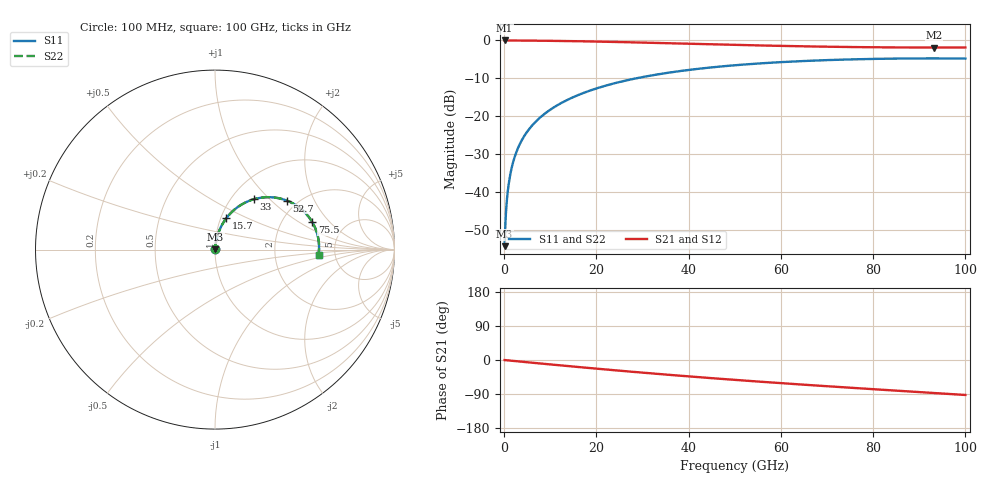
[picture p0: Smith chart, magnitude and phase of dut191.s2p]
! Touchstone file exported from HFSS 2026.1.0
!  File:  C:/ffzhzh/LocalFiles/Ansys_Project_Files/temp_train_RDL_191_1783500535_55944.aedt
!  Generated:  04:50:08 PM Jul  8, 2026
!  Design:  RDL
!  Project:  temp_train_RDL_191_1783500535_55944
! Variables:
!  h_bsmrdl = 2um
!  h_ox = 20um
!  h_rdl = 5um
!  h_sub = 80um
!  h_tmrdl = 4.85um
!  h_tsv = 80um
!  h_via = 3um
!  l_bsmrdl = 300um
!  l_sub = 701.46um
!  l_tmrdl = 301.46um
!  m_sub = 200um
!  pitch = 44.69um
!  r_tsv = 6um
!  s_tmrdl = 10um
!  w_bsmrdl = 18um
!  w_sub = 500um
!  w_tmrdl = 17.32um
!  x_tsv_center1 = 310.12um
!  x_tsv_center2 = 628.12um
!  x_tsv_center3 = 946.9um
!  x_tsv_center4 = 1264.9um
!  x_tsv_center5 = 1583.68um
!  x_tsv_center6 = 1901.68um
# GHz S MA R 50.000000
! Terminal data exported
! Port[1] = TM_RDL1_1_T1
! Port[2] = TM_RDL1_1_T2
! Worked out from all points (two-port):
!   1000 points, 100 MHz to 100 GHz, reference 50 ohm
!   highest |S21| = -0.01 dB at 100 MHz (marker M1); lowest = -1.9 dB at 93.2 GHz (marker M2)
!   |S21| within 3 dB of the highest: start of sweep to end of sweep
!   lowest |S11| = -54.2 dB at 100 MHz (marker M3), VSWR 1.00, Z = 50.1 + j0.137 ohm
!   |S11| at or under -10 dB: start of sweep to 28.53 GHz
!   |S22| runs from -54.2 to -4.7 dB; largest |S21 - S12| = 5.1e-15
!   S11 on the Smith chart (normalised r, x): 100 MHz: 1.00, +0.00; 15.7 GHz: 1.06, +0.39; 33 GHz: 1.26, +0.81; 52.7 GHz: 1.77, +1.26; 75.5 GHz: 2.93, +1.31; 100 GHz: 3.70, -0.31
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0.1  0.001961 44.3  0.9986 -0.1  0.9986 -0.1  0.001961 44.3
! Gamma 0 0 0 0
! Port Impedance 50 0 50 0
0.8  0.01051 79.8  0.9983 -1.0  0.9983 -1.0  0.01051 79.8
1.1  0.01431 81.7  0.9981 -1.3  0.9981 -1.3  0.01431 81.7
1.4  0.01812 82.5  0.998 -1.7  0.998 -1.7  0.01812 82.5
1.9  0.02446 83.1  0.9977 -2.3  0.9977 -2.3  0.02446 83.1
2.4  0.03078 83.1  0.9974 -2.9  0.9974 -2.9  0.03078 83.1
3.7  0.04702 82.3  0.9962 -4.4  0.9962 -4.4  0.04702 82.3
5.7  0.07151 80.5  0.994 -6.7  0.994 -6.7  0.07151 80.5
8.3  0.1026 77.8  0.9903 -9.7  0.9903 -9.7  0.1026 77.8
11.6  0.1411 74.4  0.9848 -13.5  0.9848 -13.5  0.1411 74.4
15.7  0.1872 70.0  0.9763 -18.1  0.9763 -18.1  0.1872 70.1
16.8  0.1992 68.9  0.9737 -19.3  0.9737 -19.3  0.1992 68.9
24.1  0.2746 61.3  0.9543 -27.2  0.9543 -27.2  0.2746 61.3
33  0.3549 52.3  0.9269 -36.4  0.9269 -36.4  0.3549 52.3
33.4  0.3582 51.9  0.9256 -36.8  0.9256 -36.8  0.3582 51.9
50.1  0.4715 36.4  0.8732 -52.5  0.8732 -52.5  0.4715 36.5
52.7  0.4851 34.2  0.8658 -54.8  0.8658 -54.8  0.4851 34.2
66.7  0.5411 22.6  0.8323 -66.6  0.8323 -66.6  0.5412 22.7
75.5  0.5632 15.7  0.8177 -73.5  0.8177 -73.5  0.5632 15.8
83.4  0.5751 9.7  0.8095 -79.6  0.8095 -79.6  0.5751 9.8
93.2  0.5801 2.3  0.8058 -87.1  0.8058 -87.1  0.5801 2.4
100  0.5774 -2.8  0.8075 -92.3  0.8075 -92.3  0.5774 -2.7
